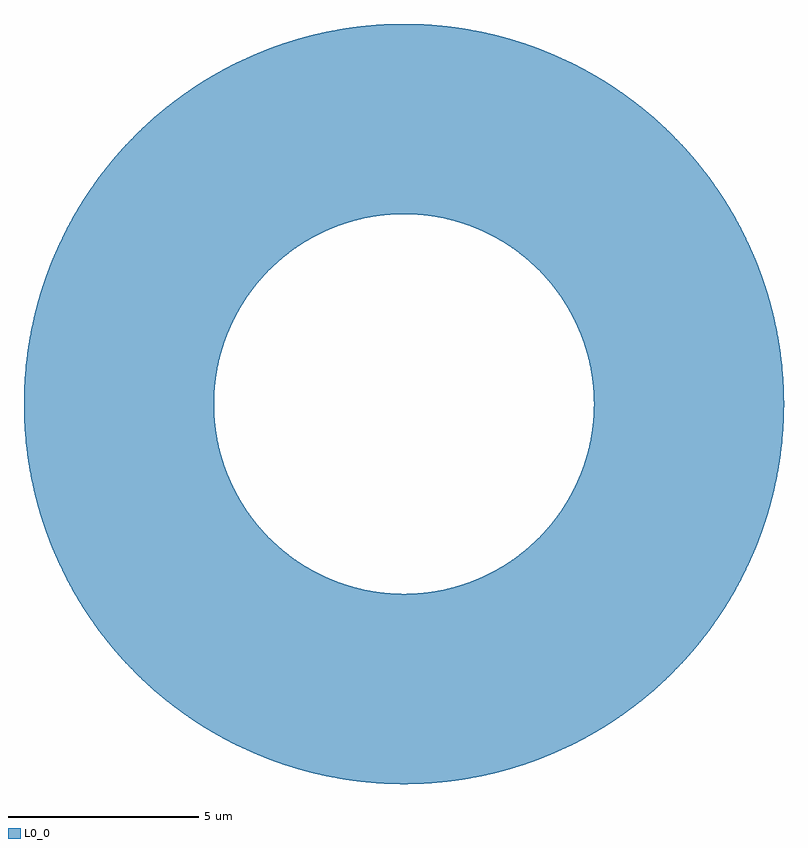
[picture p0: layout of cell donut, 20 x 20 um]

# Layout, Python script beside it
import gdspy
import numpy as np

# Define the design requirements
outer_radius = 10  # mm
inner_radius = 5  # mm
max_distance = 0.01  # mm

# Create the GDS library and cell
lib = gdspy.GdsLibrary()
cell = lib.new_cell('donut')

# Generate the donut shape
theta = np.linspace(0, 2*np.pi, int(2*np.pi*outer_radius/max_distance))
outer_x = outer_radius * np.cos(theta)
outer_y = outer_radius * np.sin(theta)

inner_x = inner_radius * np.cos(theta)
inner_y = inner_radius * np.sin(theta)

# Create the outer and inner polygons
outer_polygon = gdspy.Polygon([(x, y) for x, y in zip(outer_x, outer_y)])
inner_polygon = gdspy.Polygon([(x, y) for x, y in zip(inner_x, inner_y)])

# Subtract the inner polygon from the outer polygon to create the donut shape
donut_polygon = gdspy.fast_boolean(outer_polygon, inner_polygon, 'not', precision=0.001)

# Add the donut shape to the cell
cell.add(donut_polygon)

# Save the design to a GDS file
lib.write_gds('donut.gds')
